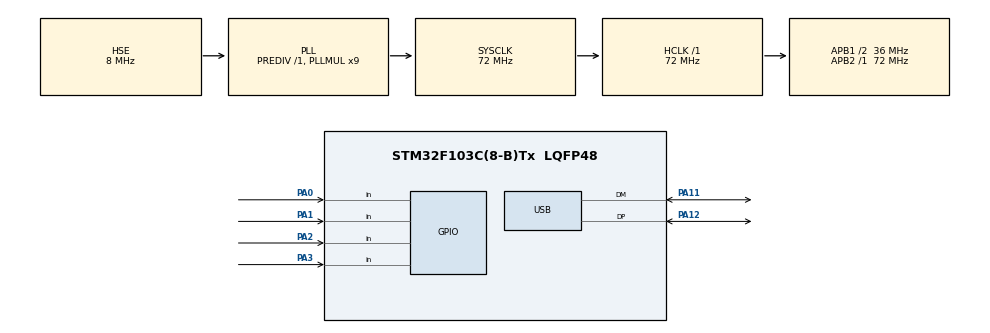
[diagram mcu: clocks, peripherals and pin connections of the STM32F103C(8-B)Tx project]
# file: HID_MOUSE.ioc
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Mcu.Family=STM32F1
Mcu.Name=STM32F103C(8-B)Tx
Mcu.Package=LQFP48
NVIC.PriorityGroup=NVIC_PRIORITYGROUP_4
NVIC.USB_LP_CAN1_RX0_IRQn=true\:0\:0\:false\:false\:true\:false\:true\:true
PA0-WKUP.GPIO_PuPd=GPIO_PULLUP
PA0-WKUP.Signal=GPIO_Input
PA1.GPIO_PuPd=GPIO_PULLUP
PA1.Signal=GPIO_Input
PA11.Mode=Device
PA11.Signal=USB_DM
PA12.Mode=Device
PA12.Signal=USB_DP
PA13.Mode=Serial_Wire
PA13.Signal=SYS_JTMS-SWDIO
PA14.Mode=Serial_Wire
PA14.Signal=SYS_JTCK-SWCLK
PA2.GPIO_PuPd=GPIO_PULLUP
PA2.Signal=GPIO_Input
PA3.GPIO_PuPd=GPIO_PULLUP
PA3.Signal=GPIO_Input
PD0-OSC_IN.Mode=HSE-External-Oscillator
PD0-OSC_IN.Signal=RCC_OSC_IN
PD1-OSC_OUT.Mode=HSE-External-Oscillator
PD1-OSC_OUT.Signal=RCC_OSC_OUT
ProjectManager.HeapSize=0x200
ProjectManager.StackSize=0x400
ProjectManager.TargetToolchain=STM32CubeIDE
RCC.AHBFreq_Value=72000000
RCC.APB1CLKDivider=RCC_HCLK_DIV2
RCC.APB1Freq_Value=36000000
RCC.APB1TimFreq_Value=72000000
RCC.APB2Freq_Value=72000000
RCC.APB2TimFreq_Value=72000000
RCC.HCLKFreq_Value=72000000
RCC.PLLMUL=RCC_PLL_MUL9
RCC.SYSCLKFreq_VALUE=72000000
RCC.SYSCLKSource=RCC_SYSCLKSOURCE_PLLCLK
RCC.USBFreq_Value=48000000
RCC.USBPrescaler=RCC_USBCLKSOURCE_PLL_DIV1_5
USB_DEVICE.CLASS_NAME_FS=HID
USB_DEVICE.VirtualMode=Hid
USB_DEVICE.VirtualModeFS=Hid_FS
VP_USB_DEVICE_VS_USB_DEVICE_HID_FS.Mode=HID_FS
board=custom

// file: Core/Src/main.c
/* USER CODE BEGIN Header */
/**
  ******************************************************************************
  * @file           : main.c
  * @brief          : Main program body
  ******************************************************************************
  * @attention
  *
  * Copyright (c) 2024 STMicroelectronics.
  * All rights reserved.
  *
  * This software is licensed under terms that can be found in the LICENSE file
  * in the root directory of this software component.
  * If no LICENSE file comes with this software, it is provided AS-IS.
  *
  ******************************************************************************
  */
/* USER CODE END Header */
#include "main.h"
#include "usb_device.h"
#include "usbd_hid.h"

/* USER CODE BEGIN PV */
#define REPORT_SIZE 5
#define RIGHT_CLICK_GPIO 				GPIOA
#define RIGHT_CLICK_PIN 				GPIO_PIN_0
#define LEFT_CLICK_GPIO 				GPIOA
#define LEFT_CLICK_PIN 					GPIO_PIN_1
#define VER_MOTION_GPIO 				GPIOA
#define VER_MOTION_PIN 					GPIO_PIN_2
#define HOR_MOTION_GPIO 				GPIOA
#define HOR_MOTION_PIN 					GPIO_PIN_3

uint8_t x, y;
uint8_t click_report[REPORT_SIZE] = {0};
extern USBD_HandleTypeDef hUsbDeviceFS;
/* USER CODE END PV */

void SystemClock_Config(void);
static void MX_GPIO_Init(void);
/* USER CODE BEGIN PFP */
void getPointerData(void)
{
	static uint8_t button = 0;
	if(HAL_GPIO_ReadPin(RIGHT_CLICK_GPIO, RIGHT_CLICK_PIN) == GPIO_PIN_RESET)
	{
		button = 2;
	}
	else
	{
		button = 0;
	}
	if(HAL_GPIO_ReadPin(LEFT_CLICK_GPIO, LEFT_CLICK_PIN) == GPIO_PIN_RESET)
	{
		button = 1;
	}
	if(HAL_GPIO_ReadPin(VER_MOTION_GPIO, VER_MOTION_PIN) == GPIO_PIN_RESET)
	{
		y++;
	}
	else
	{
		y = 0;
	}
	if(HAL_GPIO_ReadPin(HOR_MOTION_GPIO, HOR_MOTION_PIN) == GPIO_PIN_RESET)
	{
		x++;
	}
	else
	{
		x = 0;
	}
	click_report[0] = button; //click
	click_report[1] = x;			//x
	click_report[2] = y;			//y
	click_report[3] = 0;			//wheel
	click_report[4] = 0;			//motion wakeup
}
/* USER CODE END PFP */

int main(void)
{

  /* MCU Configuration--------------------------------------------------------*/

  /* Reset of all peripherals, Initializes the Flash interface and the Systick. */
  HAL_Init();

  /* Configure the system clock */
  SystemClock_Config();

  /* Initialize all configured peripherals */
  MX_GPIO_Init();
  MX_USB_DEVICE_Init();

  /* Infinite loop */
  while (1)
  {
		HAL_Delay(100);
		getPointerData();
		USBD_HID_SendReport(&hUsbDeviceFS,click_report,5);
  }
}

void SystemClock_Config(void)
{
  RCC_OscInitTypeDef RCC_OscInitStruct = {0};
  RCC_ClkInitTypeDef RCC_ClkInitStruct = {0};
  RCC_PeriphCLKInitTypeDef PeriphClkInit = {0};

  /** Initializes the RCC Oscillators according to the specified parameters
  * in the RCC_OscInitTypeDef structure.
  */
  RCC_OscInitStruct.OscillatorType = RCC_OSCILLATORTYPE_HSE;
  RCC_OscInitStruct.HSEState = RCC_HSE_ON;
  RCC_OscInitStruct.HSEPredivValue = RCC_HSE_PREDIV_DIV1;
  RCC_OscInitStruct.HSIState = RCC_HSI_ON;
  RCC_OscInitStruct.PLL.PLLState = RCC_PLL_ON;
  RCC_OscInitStruct.PLL.PLLSource = RCC_PLLSOURCE_HSE;
  RCC_OscInitStruct.PLL.PLLMUL = RCC_PLL_MUL9;
  if (HAL_RCC_OscConfig(&RCC_OscInitStruct) != HAL_OK)
  {
    Error_Handler();
  }

  /** Initializes the CPU, AHB and APB buses clocks
  */
  RCC_ClkInitStruct.ClockType = RCC_CLOCKTYPE_HCLK|RCC_CLOCKTYPE_SYSCLK
                              |RCC_CLOCKTYPE_PCLK1|RCC_CLOCKTYPE_PCLK2;
  RCC_ClkInitStruct.SYSCLKSource = RCC_SYSCLKSOURCE_PLLCLK;
  RCC_ClkInitStruct.AHBCLKDivider = RCC_SYSCLK_DIV1;
  RCC_ClkInitStruct.APB1CLKDivider = RCC_HCLK_DIV2;
  RCC_ClkInitStruct.APB2CLKDivider = RCC_HCLK_DIV1;

  if (HAL_RCC_ClockConfig(&RCC_ClkInitStruct, FLASH_LATENCY_2) != HAL_OK)
  {
    Error_Handler();
  }
  PeriphClkInit.PeriphClockSelection = RCC_PERIPHCLK_USB;
  PeriphClkInit.UsbClockSelection = RCC_USBCLKSOURCE_PLL_DIV1_5;
  if (HAL_RCCEx_PeriphCLKConfig(&PeriphClkInit) != HAL_OK)
  {
    Error_Handler();
  }
}

static void MX_GPIO_Init(void)
{
  GPIO_InitTypeDef GPIO_InitStruct = {0};

  /* GPIO Ports Clock Enable */
  __HAL_RCC_GPIOD_CLK_ENABLE();
  __HAL_RCC_GPIOA_CLK_ENABLE();

  /*Configure GPIO pins : PA0 PA1 PA2 PA3 */
  GPIO_InitStruct.Pin = GPIO_PIN_0|GPIO_PIN_1|GPIO_PIN_2|GPIO_PIN_3;
  GPIO_InitStruct.Mode = GPIO_MODE_INPUT;
  GPIO_InitStruct.Pull = GPIO_PULLUP;
  HAL_GPIO_Init(GPIOA, &GPIO_InitStruct);

}

void Error_Handler(void)
{
  __disable_irq();
  while (1)
  {
  }
}
